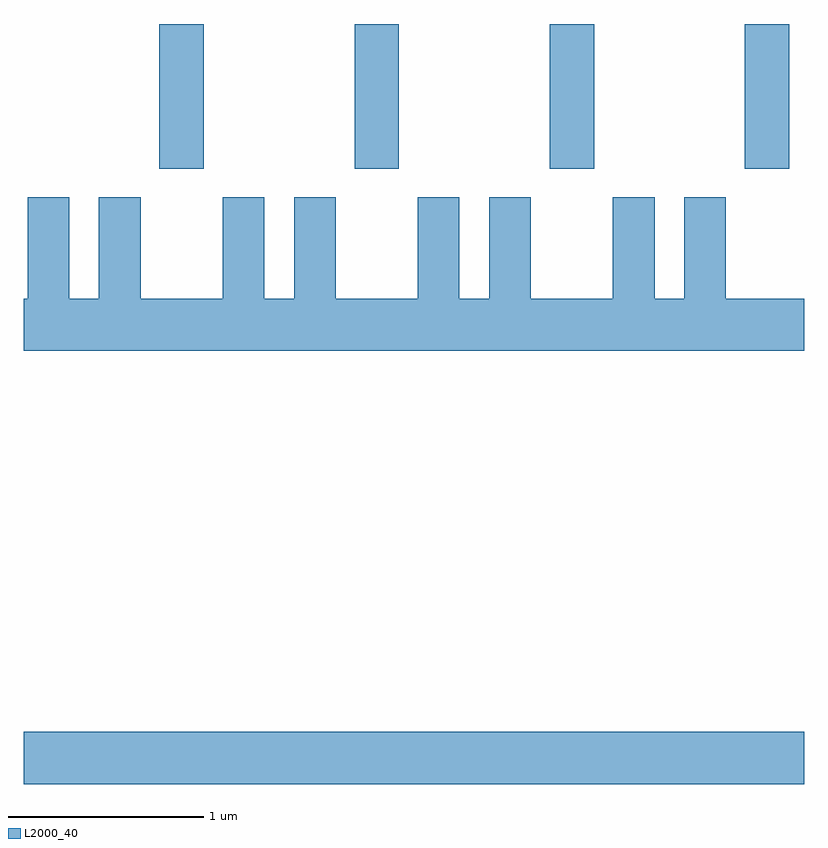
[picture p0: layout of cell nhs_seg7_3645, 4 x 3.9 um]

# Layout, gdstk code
import gdstk
lib = gdstk.Library(unit=1e-6, precision=1e-09)
def R(c, l, rs):  # rectangles x0, y0, x1, y1
    for r in rs: c.add(gdstk.rectangle(r[:2], r[2:], *l))
def A(c, l, x, y, w, h, nx, ny, dx, dy):  # array of equal rectangles
    R(c, l, [(x+i*dx, y+j*dy, x+i*dx+w, y+j*dy+h) for i in range(nx) for j in range(ny)])
def P(c, l, *ps):  # polygons
    for p in ps: c.add(gdstk.Polygon(p, *l))
L2000_40 = (2000, 40)

nhs_seg7_3645 = lib.new_cell('nhs_seg7_3645')
A(nhs_seg7_3645, L2000_40, 298.306, 1677.511, 0.228, 0.741, 4, 1, 1, 0)
R(nhs_seg7_3645, L2000_40, [(297.611,1674.356,301.611,1674.624)])
P(nhs_seg7_3645, L2000_40, [(301.611,1676.844),(301.209,1676.844),(301.209,1677.364),(300.996,1677.364),(300.996,1676.844),(300.844,1676.844),(300.844,1677.364),(300.631,1677.364),(300.631,1676.844),(300.209,1676.844),(300.209,1677.364),(299.996,1677.364),(299.996,1676.844),(299.844,1676.844),(299.844,1677.364),(299.631,1677.364),(299.631,1676.844),(299.209,1676.844),(299.209,1677.364),(298.996,1677.364),(298.996,1676.844),(298.844,1676.844),(298.844,1677.364),(298.631,1677.364),(298.631,1676.844),(298.209,1676.844),(298.209,1677.364),(297.996,1677.364),(297.996,1676.844),(297.844,1676.844),(297.844,1677.364),(297.631,1677.364),(297.631,1676.844),(297.611,1676.844),(297.611,1676.576),(301.611,1676.576)])

lib.write_gds('nhs_seg7_3645.gds')
